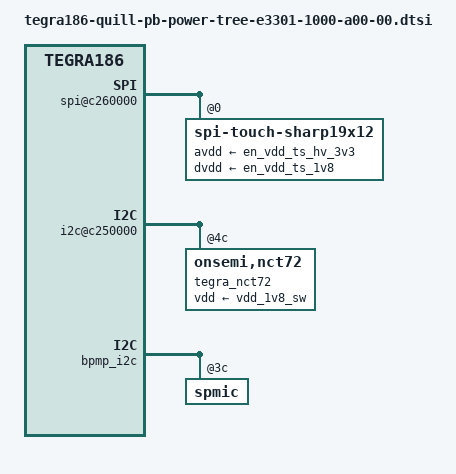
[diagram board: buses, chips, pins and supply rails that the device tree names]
/*
 * Copyright (c) 2015-2016, NVIDIA CORPORATION.  All rights reserved.
 *
 * This program is free software; you can redistribute it and/or modify
 * it under the terms of the GNU General Public License as published by
 * the Free Software Foundation; either version 2 of the License, or
 * (at your option) any later version.
 *
 * This program is distributed in the hope that it will be useful, but WITHOUT
 * ANY WARRANTY; without even the implied warranty of MERCHANTABILITY or
 * FITNESS FOR A PARTICULAR PURPOSE.  See the GNU General Public License for
 * more details.
 *
 */

#include "tegra186-quill-pb-spmic-e3301-1000-a00-00.dtsi"
#include "tegra186-quill-pb-fixed-e3301-1000-a00-00.dtsi"
#include "tegra186-cvb-pb-p2598-a00-e3301-1000-a00-00.dtsi"

/ {
	host1x {
		nvdisplay@15200000 {
			avdd_lcd-supply = <&en_avdd_disp_3v3>;
			dvdd_lcd-supply = <&en_vdd_disp_1v8>;
			avdd_dsi_csi-supply = <&spmic_sd1>;
			outp-supply = <&vpp_lcd>;
			outn-supply = <&vmm_lcd>;
		};
		nvdisplay@15210000 {
			avdd_hdmi-supply = <&spmic_ldo7>;
			avdd_hdmi_pll-supply = <&spmic_sd2>;
			vdd_hdmi_5v0-supply = <&vdd_hdmi0_5v5>;
		};
	};

	ether_qos@2490000 {
		vddio_sys_enet_bias-supply = <&spmic_ldo6>;
		vddio_enet-supply = <&spmic_ldo6>;
		phy_vdd_1v8-supply = <&spmic_ldo6>;
		phy_ovdd_rgmii-supply = <&spmic_sd3>;
		phy_pllvdd-supply = <&spmic_sd3>;
	};

	sdhci@3460000 {
		vddio_sdmmc-supply = <&spmic_sd2>;
		vddio_sd_slot-supply = <&spmic_sd3>;
		vqmmc-supply = <&spmic_sd2>;
		vmmc-supply = <&spmic_sd3>;
	};

	sdhci@3440000 {
		vddio_sdmmc-supply = <&spmic_ldo5>;
		vddio_sd_slot-supply = <&vdd_sdcard3_3v3_sw>;
		vqmmc-supply = <&spmic_ldo5>;
		vmmc-supply = <&vdd_sdcard3_3v3_sw>;
	};

	sdhci@3420000 {
		vddio_sdmmc-supply = <&spmic_sd2>;
		vddio_sd_slot-supply = <&spmic_ldo6>;
		vqmmc-supply = <&spmic_sd2>;
		vmmc-supply = <&spmic_ldo6>;
	};

	sdhci@3400000 {
		cd-inverted;
		vddio_sdmmc-supply = <&spmic_ldo3>;
		vddio_sd_slot-supply = <&vdd_sdcard1_3v3_sw>;
		vqmmc-supply = <&spmic_ldo3>;
		vmmc-supply = <&vdd_sdcard1_3v3_sw>;
	};

	ahci-sata@3507000 {
		target-3v3-supply = <&vdd_3v3_sata>;
	};

	xhci@3530000 {
		avddio_usb-supply = <&spmic_sd3>;
		avdd_pll_utmip-supply = <&spmic_ldo0>;
		hvdd_usb-supply =  <&vdd_1v8_sw>;
	};

	ufshci@2450000 {
		vddio-ufs-supply = <&spmic_sd1>;
		vddio-ufs-ap-supply = <&spmic_ldo7>;
	};

	xudc@3550000 {
		avdd-usb-supply = <&spmic_sd3>;
		dvdd-pex-supply = <&spmic_ldo7>;
		hvdd-pex-supply =  <&vdd_1v8_sw>;
		dvdd-pex-pll-supply = <&spmic_ldo7>;
		hvdd-pex-pll-supply = <&vdd_1v8_sw>;
	};

	pinctrl@3520000 {
		vbus-0-supply = <&vdd_usb0_5v>;
		vbus-1-supply = <&vdd_usb1_5v>;
		vbus-2-supply = <&vdd_usb2_5v>;
		vbus-3-supply = <&battery_reg>;
		vddio-hsic-supply = <&spmic_sd1>;
		hvdd_pex_pll-supply = <&vdd_1v8_sw>;
		hvdd_pex-supply = <&vdd_1v8_sw>;
		dvdd_pex-supply = <&spmic_ldo7>;
		avdd_usb-supply = <&spmic_sd3>;
		vclamp_usb-supply = <&vdd_1v8_sw>;
		avdd_pll_erefeut-supply = <&spmic_ldo0>;
	};

	spi@c260000 {
		spi-touch-sharp19x12@0 {
			avdd-supply = <&en_vdd_ts_hv_3v3>;
			dvdd-supply = <&en_vdd_ts_1v8>;
		};
	};

	pcie-controller@10003000 {
		dvdd-pex-supply = <&spmic_ldo7>;
		hvdd-pex-pll-supply = <&spmic_sd2>;
		hvdd-pex-supply = <&spmic_sd2>;
		vddio-pexctl-aud-supply = <&spmic_sd2>;
	};

	pmc-iopower {
		iopower-sys-supply = <&spmic_ldo6>;
		iopower-uart-supply = <&vdd_1v8_sw>;
		iopower-conn-supply = <&vdd_1v8_sw>;
		iopower-edp-supply = <&vdd_1v8_sw>;
		iopower-ufs-supply = <&spmic_sd1>;
		iopower-cam-supply = <&vdd_1v8_sw>;
		iopower-pex-ctrl-supply = <&vdd_1v8_sw>;
		iopower-sdmmc4-supply = <&vdd_1v8_sw>;
		iopower-sdmmc1-hv-supply = <&spmic_ldo3>;
		iopower-audio-hv-supply = <&spmic_sd3>;
		iopower-dbg-supply = <&spmic_ldo6>;
		iopower-spi-supply = <&vdd_1v8_sw>;
		iopower-ao-supply = <&spmic_ldo6>;
		iopower-ao-hv-supply = <&spmic_ldo2>;
		iopower-dmic-hv-supply =  <&spmic_sd3>;
		iopower-sdmmc2-hv-supply = <&spmic_sd3>;
		iopower-sdmmc3-hv-supply =  <&spmic_ldo5>;
	};

	i2c@c250000 {
		tegra_nct72: onsemi,nct72@4c {
			vdd-supply = <&vdd_1v8_sw>;
		};
	};

	bpmp_i2c {
		spmic@3c {

			pinmux@0 {
				pin_gpio1 {
					maxim,active-fps-power-up-slot = <7>;
					maxim,active-fps-power-down-slot = <0>;
				};

				pin_gpio2 {
					maxim,active-fps-power-up-slot = <0>;
					maxim,active-fps-power-down-slot = <1>;
				};

				pin_gpio3 {
					maxim,active-fps-power-up-slot = <1>;
					maxim,active-fps-power-down-slot = <7>;
				};
			};

			regulators {
				sd0 {
					maxim,active-fps-source = <MAX77620_FPS_SRC_0>;
					maxim,active-fps-power-up-slot = <5>;
					maxim,active-fps-power-down-slot = <1>;
					regulator-enable-ramp-delay = <321000>;
					regulator-disable-ramp-delay = <100000>;
					regulator-ramp-delay = <27500>;
					regulator-ramp-delay-scale = <7900>;
				};

				sd1 {
					maxim,active-fps-source = <MAX77620_FPS_SRC_1>;
					maxim,active-fps-power-up-slot = <2>;
					maxim,active-fps-power-down-slot = <3>;
					regulator-enable-ramp-delay = <216>;
					regulator-disable-ramp-delay = <17700>;
					regulator-ramp-delay = <27500>;
					regulator-ramp-delay-scale = <500>;
				};

				sd2 {
					maxim,active-fps-source = <MAX77620_FPS_SRC_0>;
					maxim,active-fps-power-up-slot = <3>;
					maxim,active-fps-power-down-slot = <4>;
					regulator-enable-ramp-delay = <351>;
					regulator-disable-ramp-delay = <49500>;
					regulator-ramp-delay = <27500>;
					regulator-ramp-delay-scale = <550>;
				};

				sd3 {
					maxim,active-fps-source = <MAX77620_FPS_SRC_1>;
					maxim,suspend-fps-source = <MAX77620_FPS_SRC_0>;
					maxim,active-fps-power-up-slot = <5>;
					maxim,active-fps-power-down-slot = <2>;
					regulator-enable-ramp-delay = <570>;
					regulator-disable-ramp-delay = <40200>;
					regulator-ramp-delay = <27500>;
					regulator-ramp-delay-scale = <500>;
				};

				ldo0 {
					maxim,active-fps-source = <MAX77620_FPS_SRC_1>;
					maxim,active-fps-power-up-slot = <3>;
					maxim,active-fps-power-down-slot = <4>;
					regulator-enable-ramp-delay = <1200>;
					regulator-disable-ramp-delay = <13800>;
					regulator-ramp-delay = <5000>;
					regulator-ramp-delay-scale = <350>;
				};

				ldo1 {
					maxim,active-fps-source = <MAX77620_FPS_SRC_NONE>;
					maxim,active-fps-power-up-slot = <0>;
					maxim,active-fps-power-down-slot = <7>;
					regulator-ramp-delay = <5000>;
				};

				ldo2 {
					maxim,active-fps-source = <MAX77620_FPS_SRC_0>;
					maxim,active-fps-power-up-slot = <5>;
					maxim,active-fps-power-down-slot = <2>;
					regulator-enable-ramp-delay = <1700>;
					regulator-disable-ramp-delay = <7800>;
					regulator-ramp-delay = <5000>;
					regulator-ramp-delay-scale = <300>;
				};

				ldo3 {
					maxim,active-fps-source = <MAX77620_FPS_SRC_NONE>;
					maxim,active-fps-power-up-slot = <7>;
					maxim,active-fps-power-down-slot = <0>;
					regulator-enable-ramp-delay = <1900>;
					regulator-disable-ramp-delay = <11000>;
					regulator-ramp-delay = <5000>;
					regulator-ramp-delay-scale = <300>;
				};

				ldo4 {
					maxim,active-fps-source = <MAX77620_FPS_SRC_0>;
					maxim,active-fps-power-up-slot = <0>;
					maxim,active-fps-power-down-slot = <7>;
					regulator-enable-ramp-delay = <26>;
					regulator-disable-ramp-delay = <4800>;
					regulator-ramp-delay = <100000>;
					regulator-ramp-delay-scale = <350>;
				};

				ldo5 {
					maxim,active-fps-source = <MAX77620_FPS_SRC_NONE>;
					maxim,active-fps-power-up-slot = <7>;
					maxim,active-fps-power-down-slot = <0>;
					regulator-enable-ramp-delay = <1800>;
					regulator-disable-ramp-delay = <11000>;
					regulator-ramp-delay = <5000>;
					regulator-ramp-delay-scale = <300>;
				};

				ldo6 {
					maxim,active-fps-source = <MAX77620_FPS_SRC_0>;
					maxim,active-fps-power-up-slot = <2>;
					maxim,active-fps-power-down-slot = <5>;
					regulator-enable-ramp-delay = <1150>;
					regulator-disable-ramp-delay = <16500>;
					regulator-ramp-delay = <5000>;
					regulator-ramp-delay-scale = <350>;
				};

				ldo7 {
					maxim,active-fps-source = <MAX77620_FPS_SRC_1>;
					maxim,active-fps-power-up-slot = <4>;
					maxim,active-fps-power-down-slot = <3>;
					regulator-enable-ramp-delay = <594>;
					regulator-disable-ramp-delay = <10200>;
					regulator-ramp-delay = <5000>;
					regulator-ramp-delay-scale = <300>;
				};

				ldo8 {
					maxim,active-fps-source = <MAX77620_FPS_SRC_NONE>;
					maxim,active-fps-power-up-slot = <0>;
					maxim,active-fps-power-down-slot = <7>;
					regulator-ramp-delay = <5000>;
				};
			};
		};
	};

	fixed-regulators {
			regulator@3 {
			regulator-enable-ramp-delay = <400>;
			regulator-disable-ramp-delay = <68000>;
		};

		regulator@7 {
			regulator-enable-ramp-delay = <340>;
			regulator-disable-ramp-delay = <5500>;
		};

		regulator@8 {
			regulator-enable-ramp-delay = <340>;
			regulator-disable-ramp-delay = <5800>;
		};

		regulator@9 {
			regulator-enable-ramp-delay = <350>;
			regulator-disable-ramp-delay = <100>;
		};

		regulator@10 {
			regulator-enable-ramp-delay = <3450>;
			regulator-disable-ramp-delay = <3450>;
		};

		regulator@11 {
			regulator-enable-ramp-delay = <3450>;
			regulator-disable-ramp-delay = <3600>;
		};

		regulator@12 {
			regulator-enable-ramp-delay = <2500>;
			regulator-disable-ramp-delay = <32000>;
		};
	};
};
